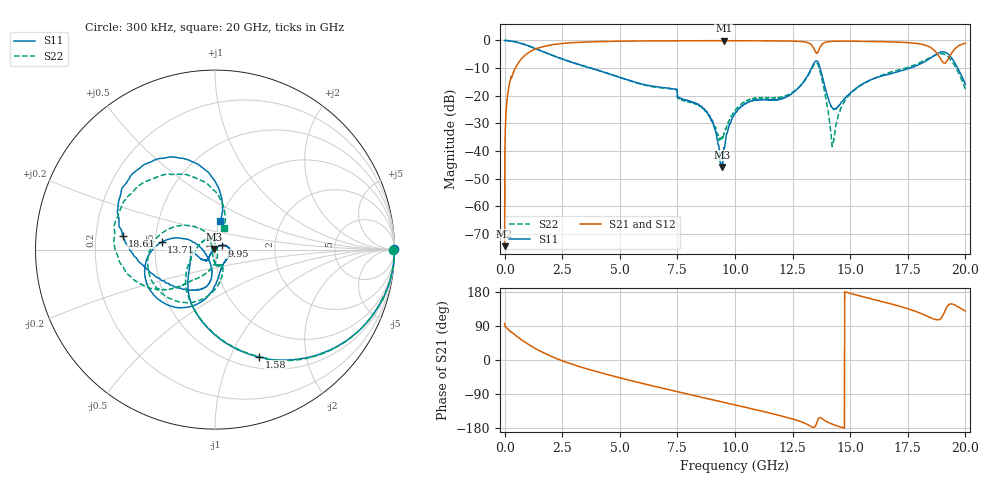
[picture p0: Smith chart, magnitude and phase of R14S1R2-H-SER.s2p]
!{R14S1R2}
!Johanson Technology Inc.
!www.johansontechnology.com
!Test Board Conditions:
!Substrate Type  RO4350B
!Substrate Thickness  20 mil
!Substrate Dk  3.66
!TL Type: GCPW
!TL Trace Width  36 mil
!TL Gap  12 mil
!Electrode orientation  Horizontal
!DUT TOPOLOGY	SERIES
!Mounting Pad LxW  26x36 mil
! Created Wed Nov 25 17:33:21 2020
! 2 Port Network Data from SP1.SP block
! freq  magS11  angS11  magS21  angS21  magS12  angS12  magS22  angS22
# khz S ma R 50
! decimated to every 10th point (10 MHz spacing) of the original 1 MHz Johanson file; values unchanged
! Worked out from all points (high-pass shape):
!   2001 points, 300 kHz to 20 GHz, reference 50 ohm
!   highest |S21| = -0.07 dB at 9.51 GHz (marker M1); lowest = -74.5 dB at 300 kHz (marker M2)
!   |S21| within 3 dB of the highest: 1.345 GHz to 13.43 GHz (12.09 GHz wide, 164 % of centre); 13.66 GHz to 18.58 GHz (4.921 GHz wide, 30.5 % of centre)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
!   lowest |S11| = -45.8 dB at 9.43 GHz (marker M3), VSWR 1.01, Z = 49.7 + j0.403 ohm
!   |S11| at or under -10 dB: 3.73 GHz to 13.32 GHz (9.59 GHz wide, 112 % of centre); 13.69 GHz to 17.57 GHz (3.879 GHz wide, 24.8 % of centre); 19.66 GHz to end of sweep
!   |S22| runs from -38.4 to 0.0 dB; largest |S21 - S12| = 0.02
!   S11 on the Smith chart (normalised r, x): 300 kHz: open; 1.58 GHz: 0.63, -1.30; 9.95 GHz: 1.07, +0.05; 13.71 GHz: 0.54, +0.05; 18.61 GHz: 0.32, +0.07; 20 GHz: 1.01, +0.33
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300  0.9948 0.0  0.0001883 96.5  0.0002679 90.5  0.9935 -0.0
110300  0.9952 -6.4  0.0866 83.4  0.08694 83.4  0.9961 -6.4
250300  0.9801 -14.3  0.1934 75.4  0.194 75.4  0.9801 -14.3
750300  0.8771 -36.9  0.475 52.8  0.4751 52.9  0.8786 -37.0
1580300  0.6474 -67.5  0.7526 22.5  0.7547 22.4  0.6491 -67.1
3340300  0.3535 -109.1  0.9281 -19.2  0.9289 -19.2  0.3559 -108.6
6670300  0.1436 -161.4  0.9821 -71.9  0.9821 -71.8  0.1408 -160.7
8720300  0.05327 -128.8  0.9897 -100.8  0.9888 -100.8  0.0542 116.0
9100300  0.02687 -137.3  0.9902 -106.0  0.9904 -106.1  0.02861 129.2
9430300  0.005105 127.4  0.9898 -110.6  0.9915 -110.6  0.01655 -155.5
9510300  0.01031 69.8  0.9915 -111.8  0.9897 -111.8  0.02013 -137.3
9950300  0.04306 32.7  0.9879 -117.9  0.9891 -117.9  0.05005 -100.0
1.00003e7  0.04796 28.8  0.9881 -118.6  0.9872 -118.6  0.05395 -97.1
1.23603e7  0.1023 -67.0  0.9732 -153.3  0.9759 -153.3  0.1067 -66.6
1.33403e7  0.3306 -110.3  0.8117 -176.9  0.817 -177.1  0.3125 -111.4
1.37103e7  0.3006 171.9  0.7778 -152.1  0.7749 -152.5  0.2598 150.7
1.42503e7  0.05828 -159.0  0.9661 -170.1  0.9665 -170.1  0.01316 -5.5
1.49403e7  0.1051 -100.4  0.9715 176.9  0.9719 176.8  0.1002 -99.4
1.66703e7  0.2427 -113.7  0.9483 149.5  0.9405 149.4  0.2613 -131.9
1.86103e7  0.5209 171.4  0.6849 108.4  0.6798 108.7  0.5226 -169.8
1.92703e7  0.5589 113.0  0.4732 145.4  0.4825 145.9  0.4976 122.6
2e7  0.1619 79.1  0.8883 129.2  0.8885 129.2  0.1312 68.4
